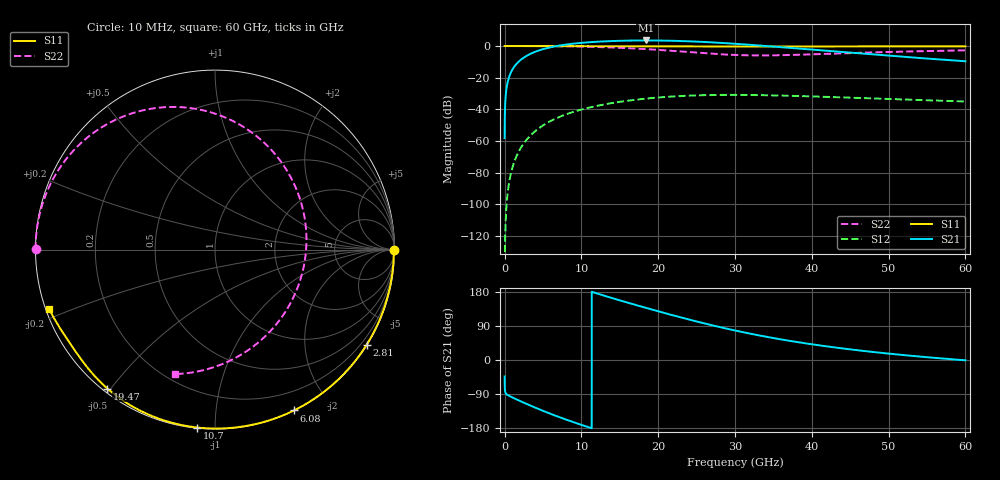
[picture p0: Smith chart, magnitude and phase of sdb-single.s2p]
! Touchstone Ver. 1.0
! Fri May  5 20:23:08 2023
! Number of ports is 2
# Hz	S	DB	R	50.000000
! SCATTERING PARAMETERS  :
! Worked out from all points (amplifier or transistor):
!   6000 points, 10 MHz to 60 GHz, reference 50 ohm
!   highest |S21| = 3.5 dB at 18.38 GHz (marker M1)
!   |S21| within 3 dB of that: 7.442 GHz to 32.67 GHz (25.23 GHz wide, 126 % of centre)
!   unconditionally stable (mu >= 1): start of sweep to 51.26 MHz; 24.31 GHz to end of sweep
!   at 10.01 GHz: K = 0.43, MSG = 21.1 dB, |S12| = -40.2 dB
!   at 30.01 GHz: K = 1.21, MAG = 13.4 dB, |S12| = -30.9 dB
!   at 60 GHz: K = 2.09, MAG = 6.8 dB, |S12| = -35.1 dB
!   S11 on the Smith chart (normalised r, x): 10 MHz: open; 2.81 GHz: 0.02, -3.48; 6.08 GHz: 0.00, -1.60; 10.7 GHz: 0.00, -0.91; 19.47 GHz: 0.01, -0.49; 60 GHz: 0.01, -0.17
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1e7  -0.01 -0.2  -58.21 -43.5  -162.80 -120.0  -0.00 180.0
3.4e8  -0.03 -4.0  -24.44 -91.4  -96.00 179.8  -0.00 178.8
6.7e8  -0.03 -7.8  -18.56 -95.3  -84.23 175.7  -0.00 177.7
9.7e8  -0.03 -11.3  -15.36 -98.3  -77.82 172.8  -0.00 176.6
1.48e9  -0.03 -17.2  -11.74 -103.2  -70.53 168.2  -0.01 174.8
2.81e9  -0.02 -32.1  -6.41 -115.3  -59.62 157.0  -0.02 170.1
4.24e9  -0.02 -46.9  -3.21 -127.8  -52.85 145.7  -0.05 165.0
6.08e9  -0.02 -63.9  -0.72 -142.7  -47.22 132.1  -0.12 158.1
7.88e9  -0.02 -78.0  0.82 -156.3  -43.42 119.9  -0.22 151.1
1.001e10  -0.03 -91.8  1.98 -171.2  -40.16 106.7  -0.39 142.2
1.07e10  -0.03 -95.7  2.26 -175.8  -39.30 102.7  -0.47 139.2
1.437e10  -0.08 -112.4  3.20 161.2  -35.76 82.5  -1.01 121.7
1.838e10  -0.16 -125.0  3.50 137.7  -33.27 62.0  -1.95 99.5
1.947e10  -0.18 -127.7  3.48 131.5  -32.77 56.6  -2.28 92.7
2.001e10  -0.19 -129.0  3.45 128.5  -32.55 54.0  -2.45 89.3
2.229e10  -0.24 -133.6  3.24 115.9  -31.79 43.2  -3.23 73.9
2.46e10  -0.28 -137.4  2.85 103.7  -31.28 32.7  -4.08 56.9
3.001e10  -0.34 -144.1  1.41 77.9  -30.89 10.8  -5.67 13.3
3.457e10  -0.33 -148.1  -0.20 59.5  -31.16 -4.3  -5.93 -21.8
4.001e10  -0.30 -151.8  -2.31 41.5  -31.86 -18.5  -5.27 -54.0
5.001e10  -0.22 -156.8  -6.15 16.8  -33.48 -36.6  -3.77 -88.8
6e10  -0.17 -160.4  -9.64 -0.8  -35.07 -48.1  -2.76 -107.7
